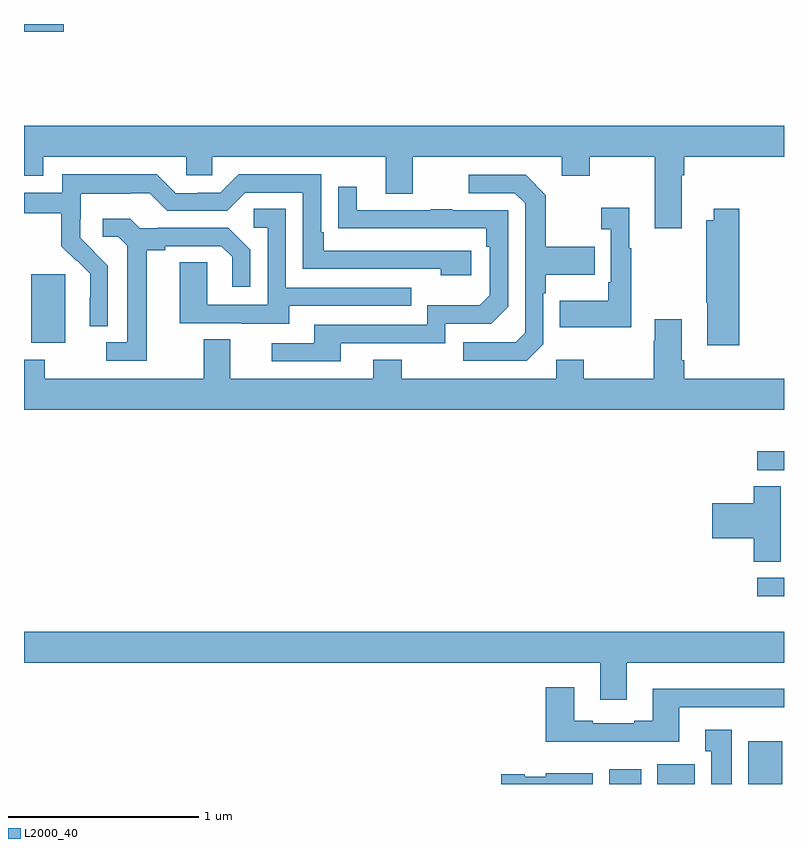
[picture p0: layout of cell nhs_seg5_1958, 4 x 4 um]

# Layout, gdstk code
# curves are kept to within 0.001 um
import gdstk
lib = gdstk.Library(unit=1e-6, precision=1e-09)
def R(c, l, rs):  # rectangles x0, y0, x1, y1
    for r in rs: c.add(gdstk.rectangle(r[:2], r[2:], *l))
def P(c, l, *ps):  # polygons
    for p in ps: c.add(gdstk.Polygon(p, *l))
L2000_40 = (2000, 40)

nhs_seg5_1958 = lib.new_cell('nhs_seg5_1958')
R(nhs_seg5_1958, L2000_40, [(230.081,846.799,230.248,846.877), (230.333,846.799,230.53,846.904), (230.813,846.799,230.992,847.024), (230.859,847.788,231,847.884), (230.859,848.451,231,848.55), (227.039,849.122,227.218,849.483), (227,850.757,227.209,850.799)])
P(nhs_seg5_1958, L2000_40, [(230.461,850.004),(230.474,850.004),(230.474,850.1),(231,850.1),(231,850.264),(227,850.264),(227,850.001),(227.101,850.001),(227.101,850.1),(227.853,850.1),(227.853,850.002),(227.991,850.002),(227.991,850.1),(228.905,850.1),(228.905,849.906),(229.045,849.906),(229.045,850.1),(229.829,850.1),(229.829,850.001),(229.977,850.001),(229.977,850.1),(230.321,850.1),(230.321,849.723),(230.461,849.723)],
  [(227.442,849.526),(227.296,849.674),(227.296,849.771),(227.298,849.771),(227.298,849.905),(227.561,849.905),(227.561,849.909),(227.661,849.909),(227.754,849.816),(228.069,849.816),(228.165,849.912),(228.468,849.912),(228.468,849.51),(229.193,849.51),(229.193,849.476),(229.354,849.476),(229.354,849.606),(228.577,849.606),(228.577,849.703),(228.564,849.703),(228.564,850.008),(228.129,850.008),(228.033,849.912),(227.915,849.912),(227.915,849.909),(227.799,849.909),(227.699,850.009),(227.202,850.009),(227.202,849.912),(227,849.912),(227,849.804),(227.197,849.804),(227.197,849.629),(227.274,849.552),(227.277,849.555),(227.348,849.485),(227.348,849.362),(227.346,849.362),(227.346,849.208),(227.442,849.208)],
  [(229.734,849.114),(229.734,849.383),(229.747,849.383),(229.747,849.479),(230.003,849.479),(230.003,849.627),(229.747,849.627),(229.747,849.899),(229.641,850.005),(229.341,850.005),(229.341,849.909),(229.584,849.909),(229.638,849.855),(229.638,849.174),(229.587,849.123),(229.311,849.123),(229.311,849.027),(229.647,849.027)],
  [(228.667,849.12),(229.218,849.12),(229.218,849.222),(229.458,849.222),(229.548,849.312),(229.548,849.819),(229.253,849.819),(229.253,849.824),(229.141,849.824),(229.141,849.819),(228.751,849.819),(228.751,849.943),(228.655,849.943),(228.655,849.724),(229.432,849.723),(229.432,849.626),(229.452,849.626),(229.452,849.372),(229.399,849.319),(229.122,849.319),(229.122,849.216),(228.527,849.216),(228.527,849.12),(228.303,849.12),(228.303,849.024),(228.667,849.024)],
  [(230.197,849.619),(230.185,849.619),(230.185,849.832),(230.037,849.832),(230.037,849.719),(230.088,849.719),(230.088,849.439),(230.076,849.439),(230.076,849.343),(229.819,849.343),(229.819,849.203),(230.197,849.203)],
  [(228.397,849.315),(229.037,849.315),(229.037,849.411),(228.378,849.411),(228.378,849.827),(228.21,849.827),(228.21,849.726),(228.282,849.726),(228.282,849.321),(227.964,849.321),(227.964,849.545),(227.819,849.545),(227.819,849.225),(228.143,849.225),(228.143,849.221),(228.397,849.221)],
  [(230.765,849.826),(230.63,849.826),(230.63,849.766),(230.59,849.766),(230.59,849.331),(230.597,849.331),(230.597,849.108),(230.765,849.108)],
  [(227.647,849.608),(227.743,849.608),(227.743,849.63),(228.038,849.63),(228.095,849.573),(228.095,849.417),(228.192,849.417),(228.192,849.61),(228.076,849.726),(227.704,849.726),(227.704,849.723),(227.61,849.723),(227.558,849.775),(227.415,849.775),(227.415,849.678),(227.496,849.678),(227.543,849.631),(227.543,849.123),(227.433,849.123),(227.433,849.027),(227.647,849.027)],
  [(231,848.932),(230.474,848.932),(230.474,849.028),(230.461,849.028),(230.461,849.244),(230.321,849.244),(230.321,849.131),(230.314,849.131),(230.314,848.932),(229.947,848.932),(229.947,849.031),(229.8,849.031),(229.8,848.932),(228.987,848.932),(228.987,849.031),(228.839,849.031),(228.839,848.932),(228.085,848.932),(228.085,849.14),(227.945,849.14),(227.945,848.932),(227.109,848.932),(227.109,849.031),(227,849.031),(227,848.768),(231,848.768)],
  [(230.983,848.366),(230.84,848.366),(230.84,848.276),(230.622,848.276),(230.622,848.093),(230.84,848.093),(230.84,847.969),(230.983,847.969)],
  [(230.173,847.436),(231,847.436),(231,847.6),(227,847.6),(227,847.436),(230.033,847.436),(230.033,847.242),(230.173,847.242)],
  [(230.449,847.203),(231,847.203),(231,847.3),(230.309,847.3),(230.309,847.132),(230.213,847.132),(230.213,847.119),(229.993,847.119),(229.993,847.132),(229.897,847.132),(229.897,847.309),(229.745,847.309),(229.745,847.022),(230.449,847.022)],
  [(230.725,847.084),(230.585,847.084),(230.585,846.971),(230.618,846.971),(230.618,846.799),(230.725,846.799)],
  [(229.993,846.856),(229.746,846.856),(229.746,846.838),(229.635,846.838),(229.635,846.851),(229.512,846.851),(229.512,846.799),(229.993,846.799)])

lib.write_gds('nhs_seg5_1958.gds')
